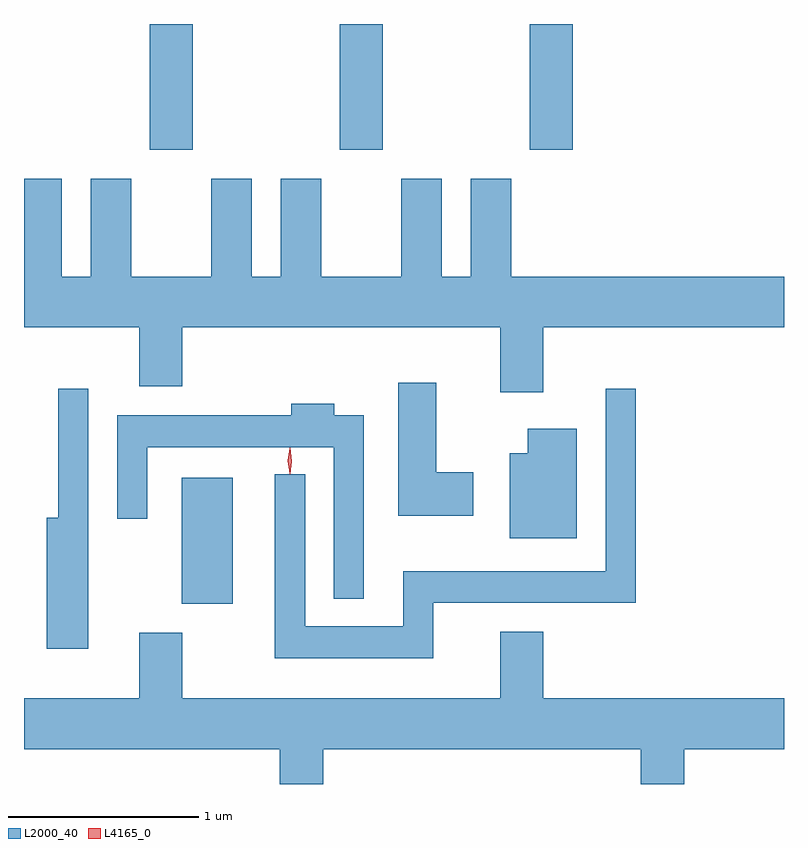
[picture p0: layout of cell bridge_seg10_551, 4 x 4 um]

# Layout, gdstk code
import gdstk
lib = gdstk.Library(unit=1e-6, precision=1e-09)
def R(c, l, rs):  # rectangles x0, y0, x1, y1
    for r in rs: c.add(gdstk.rectangle(r[:2], r[2:], *l))
def A(c, l, x, y, w, h, nx, ny, dx, dy):  # array of equal rectangles
    R(c, l, [(x+i*dx, y+j*dy, x+i*dx+w, y+j*dy+h) for i in range(nx) for j in range(ny)])
def P(c, l, *ps):  # polygons
    for p in ps: c.add(gdstk.Polygon(p, *l))
L2000_40 = (2000, 40)
L4165_0 = (4165, 0)

bridge_seg10_551 = lib.new_cell('bridge_seg10_551')
A(bridge_seg10_551, L2000_40, 782.306, 2170.351, 0.228, 0.662, 3, 1, 1, 0)
R(bridge_seg10_551, L2000_40, [(782.476,2167.961,782.744,2168.624)])
P(bridge_seg10_551, L2000_40, [(784.379,2169.416),(785.645,2169.416),(785.645,2169.684),(784.209,2169.684),(784.209,2170.199),(783.996,2170.199),(783.996,2169.684),(783.844,2169.684),(783.844,2170.199),(783.631,2170.199),(783.631,2169.684),(783.209,2169.684),(783.209,2170.199),(782.996,2170.199),(782.996,2169.684),(782.844,2169.684),(782.844,2170.199),(782.631,2170.199),(782.631,2169.684),(782.209,2169.684),(782.209,2170.199),(781.996,2170.199),(781.996,2169.684),(781.844,2169.684),(781.844,2170.199),(781.645,2170.199),(781.645,2169.416),(782.251,2169.416),(782.251,2169.106),(782.479,2169.106),(782.479,2169.416),(784.151,2169.416),(784.151,2169.076),(784.379,2169.076)],
  [(784.009,2168.654),(783.814,2168.654),(783.814,2169.124),(783.616,2169.124),(783.616,2168.426),(784.009,2168.426)],
  [(781.984,2169.093),(781.826,2169.093),(781.826,2168.414),(781.766,2168.414),(781.766,2167.726),(781.984,2167.726)],
  [(783.799,2167.966),(784.864,2167.966),(784.864,2169.093),(784.706,2169.093),(784.706,2168.134),(783.641,2168.134),(783.641,2167.844),(783.124,2167.844),(783.124,2168.643),(782.966,2168.643),(782.966,2167.676),(783.799,2167.676)],
  [(783.434,2168.954),(783.279,2168.954),(783.279,2169.014),(783.051,2169.014),(783.051,2168.954),(782.136,2168.954),(782.136,2168.408),(782.294,2168.408),(782.294,2168.786),(783.276,2168.786),(783.276,2167.988),(783.434,2167.988)],
  [(784.554,2168.884),(784.296,2168.884),(784.296,2168.754),(784.201,2168.754),(784.201,2168.306),(784.554,2168.306)],
  [(783.219,2167.196),(784.891,2167.196),(784.891,2167.013),(785.119,2167.013),(785.119,2167.196),(785.645,2167.196),(785.645,2167.464),(784.379,2167.464),(784.379,2167.814),(784.151,2167.814),(784.151,2167.464),(782.479,2167.464),(782.479,2167.809),(782.251,2167.809),(782.251,2167.464),(781.645,2167.464),(781.645,2167.196),(782.991,2167.196),(782.991,2167.013),(783.219,2167.013)])
P(bridge_seg10_551, L4165_0, [(783.044,2168.644),(783.035,2168.713),(783.044,2168.782),(783.045,2168.783),(783.046,2168.782),(783.055,2168.713),(783.046,2168.644),(783.045,2168.644)],
  [(783.044,2168.647),(783.043,2168.648),(783.034,2168.714),(783.043,2168.78),(783.044,2168.78),(783.044,2168.78),(783.054,2168.714),(783.044,2168.648)])

lib.write_gds('bridge_seg10_551.gds')
